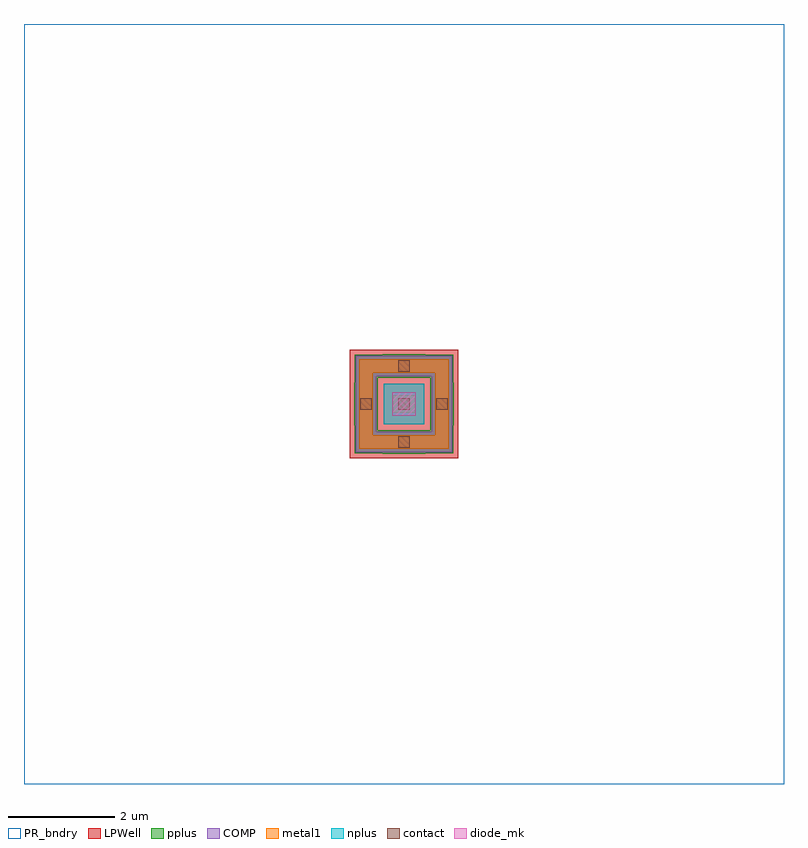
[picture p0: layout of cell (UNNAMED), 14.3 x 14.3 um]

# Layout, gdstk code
import gdstk
lib = gdstk.Library(unit=1e-6, precision=1e-09)
def R(c, l, rs):  # rectangles x0, y0, x1, y1
    for r in rs: c.add(gdstk.rectangle(r[:2], r[2:], *l))
def A(c, l, x, y, w, h, nx, ny, dx, dy):  # array of equal rectangles
    R(c, l, [(x+i*dx, y+j*dy, x+i*dx+w, y+j*dy+h) for i in range(nx) for j in range(ny)])
PR_bndry = (0, 0)
COMP = (22, 0)
pplus = (31, 0)
nplus = (32, 0)
contact = (33, 0)
metal1 = (34, 0)
diode_mk = (115, 5)
LPWell = (204, 0)

c__unnamed_ = lib.new_cell('(UNNAMED)')
R(c__unnamed_, PR_bndry, [(-7.15,-7.15,7.15,7.15)])
R(c__unnamed_, COMP, [(-0.905,-0.905,0.905,-0.525), (-0.905,-0.525,-0.525,0.525), (0.525,-0.525,0.905,0.525), (-0.225,-0.225,0.225,0.225), (-0.905,0.525,0.905,0.905)])
R(c__unnamed_, pplus, [(-0.4,-0.935,0.4,-0.925), (-0.925,-0.925,0.925,-0.495), (-0.925,-0.495,-0.495,-0.4), (0.495,-0.495,0.925,-0.4), (-0.935,-0.4,-0.495,0.4), (0.495,-0.4,0.935,0.4), (-0.925,0.4,-0.495,0.495), (0.495,0.4,0.925,0.495), (-0.925,0.495,0.925,0.925), (-0.4,0.925,0.4,0.935)])
R(c__unnamed_, nplus, [(-0.385,-0.385,0.385,0.385)])
A(c__unnamed_, contact, -0.825, -0.11, 0.22, 0.22, 3, 1, 0.715, 0)
R(c__unnamed_, contact, [(-0.11,-0.825,0.11,-0.605), (-0.11,0.605,0.11,0.825)])
R(c__unnamed_, metal1, [(-0.84,-0.84,0.84,-0.59), (-0.84,-0.59,-0.59,0.59), (0.59,-0.59,0.84,0.59), (-0.215,-0.16,0.215,0.16), (-0.84,0.59,0.84,0.84)])
R(c__unnamed_, diode_mk, [(-0.225,-0.225,0.225,0.225)])
R(c__unnamed_, LPWell, [(-1.025,-1.025,1.025,1.025)])

lib.write_gds('_UNNAMED_.gds')
